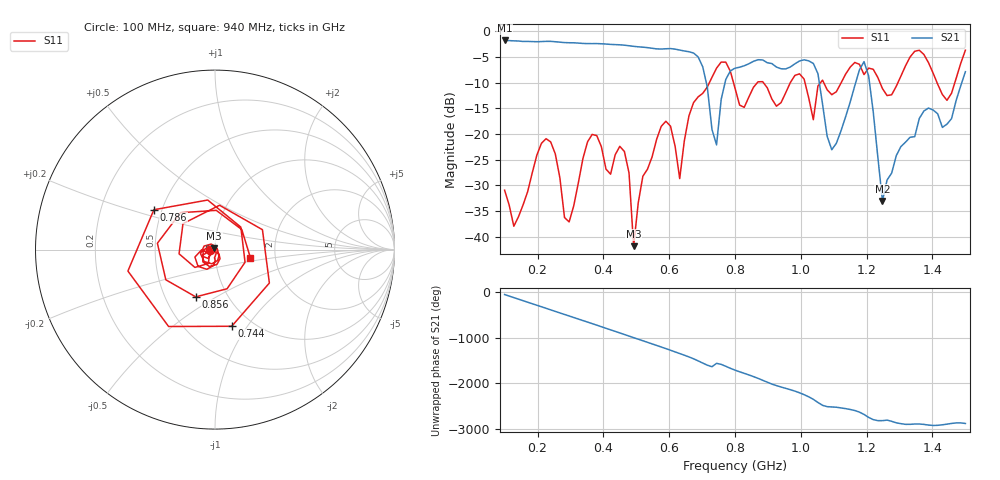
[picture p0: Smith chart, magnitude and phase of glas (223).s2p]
! NanoVNA-App
! Date: 2025-09-25 15:57:12
! Start: 100MHz Stop: 1,5GHz Points: 101
! S-Parameter data: F S11 S21 S12 S22
# Hz S RI R 50
!  Frequency  S11_Real  S11_Imag  S21_Real  S21_Imag  S12_Real  S12_Imag  S22_Real  S22_Imag
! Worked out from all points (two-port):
!   101 points, 100 MHz to 1.5 GHz, reference 50 ohm
!   highest |S21| = -1.80 dB at 100 MHz (marker M1); lowest = -33.0 dB at 1.248 GHz (marker M2)
!   |S21| within 3 dB of the highest: start of sweep to 684.2 MHz
!   lowest |S11| = -41.8 dB at 492 MHz (marker M3), VSWR 1.02, Z = 49.5 + j0.634 ohm
!   |S11| at or under -10 dB: start of sweep to 722.4 MHz; 795.4 MHz to 868.1 MHz (72.74 MHz wide, 8.75 % of centre); 886.1 MHz to 968.1 MHz (81.97 MHz wide, 8.84 % of centre) (the widest 3 of 7)
!   S12 and S22 are empty: the file has one direction only
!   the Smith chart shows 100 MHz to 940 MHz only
!   S11 on the Smith chart (normalised r, x): 100 MHz: 0.95, -0.01; 744 MHz: 0.80, -0.85; 786 MHz: 0.45, +0.24; 856 MHz: 0.71, -0.41; 940 MHz: 1.48, -0.14
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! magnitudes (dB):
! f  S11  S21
! 100 MHz  -30.9  -1.8
! 128 MHz  -38.0  -1.9
! 226 MHz  -20.9  -2.0
! 296 MHz  -37.1  -2.2
! 338 MHz  -24.8  -2.4
! 464 MHz  -23.4  -2.7
! 492 MHz  -41.8  -2.9
! 576 MHz  -18.5  -3.5
! 632 MHz  -28.7  -3.7
! 702 MHz  -12.1  -6.9
! 744 MHz  -7.2  -22.1
! 786 MHz  -7.8  -7.7
! 800 MHz  -11.1  -7.2
! 856 MHz  -10.9  -5.9
! 940 MHz  -13.9  -7.3
! 1.038 GHz  -17.2  -6.3
! 1.094 GHz  -12.4  -23.1
! 1.192 GHz  -8.4  -5.9
! 1.248 GHz  -11.2  -33.0
! 1.276 GHz  -12.4  -27.6
! 1.444 GHz  -13.5  -18.1
! 1.5 GHz  -3.7  -7.9
